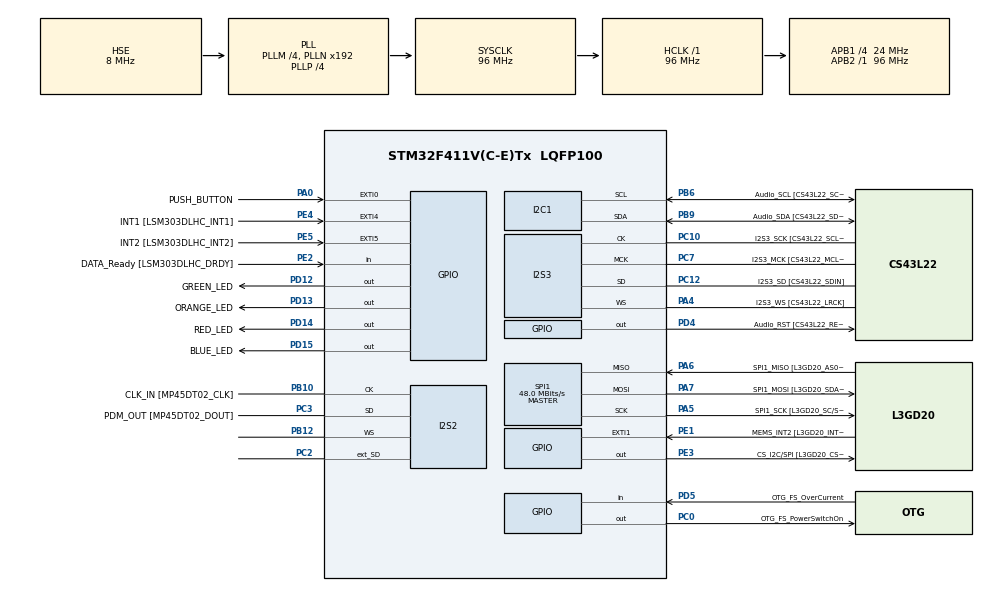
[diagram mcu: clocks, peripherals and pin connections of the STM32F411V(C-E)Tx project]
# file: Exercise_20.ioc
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FREERTOS.Tasks01=Command,0,128,Start_Command,Default,NULL,Dynamic,NULL,NULL;Flashing,0,128,Start_Flashing,Default,NULL,Dynamic,NULL,NULL
I2S2.AudioFreq=I2S_AUDIOFREQ_96K
I2S2.ErrorAudioFreq=0.15 %
I2S2.FullDuplexMode=I2S_FULLDUPLEXMODE_ENABLE
I2S2.Instance=SPI$Index
I2S2.RealAudioFreq=96.153 KHz
I2S2.VirtualMode=I2S_MODE_MASTER
I2S3.AudioFreq=I2S_AUDIOFREQ_96K
I2S3.ErrorAudioFreq=-6.99 %
I2S3.FullDuplexMode=I2S_FULLDUPLEXMODE_DISABLE
I2S3.Instance=SPI$Index
I2S3.RealAudioFreq=89.285 KHz
I2S3.VirtualMode=I2S_MODE_MASTER
Mcu.Family=STM32F4
Mcu.Name=STM32F411V(C-E)Tx
Mcu.Package=LQFP100
NVIC.PriorityGroup=NVIC_PRIORITYGROUP_4
NVIC.TIM1_UP_TIM10_IRQn=true\:0\:0\:false\:false\:true\:false\:false\:true
NVIC.TimeBase=TIM1_UP_TIM10_IRQn
NVIC.TimeBaseIP=TIM1
PA0-WKUP.GPIO_Label=PUSH_BUTTON
PA0-WKUP.GPIO_ModeDefaultEXTI=GPIO_MODE_EVT_RISING
PA0-WKUP.Signal=GPXTI0
PA10.GPIO_Label=OTG_FS_ID
PA10.Signal=USB_OTG_FS_ID
PA11.GPIO_Label=OTG_FS_DM
PA11.Signal=USB_OTG_FS_DM
PA12.GPIO_Label=OTG_FS_DP
PA12.Signal=USB_OTG_FS_DP
PA13.GPIO_Label=SWDIO
PA13.Mode=Serial_Wire
PA13.Signal=SYS_JTMS-SWDIO
PA14.GPIO_Label=SWCLK
PA14.Mode=Serial_Wire
PA14.Signal=SYS_JTCK-SWCLK
PA4.GPIO_Label=I2S3_WS [CS43L22_LRCK]
PA4.GPIO_Mode=GPIO_MODE_AF_PP
PA4.GPIO_PuPd=GPIO_NOPULL
PA4.GPIO_Speed=GPIO_SPEED_FREQ_LOW
PA4.Mode=Half_Duplex_Master
PA4.Signal=I2S3_WS
PA5.GPIO_Label=SPI1_SCK [L3GD20_SC/SPC]
PA5.Mode=Full_Duplex_Master
PA5.Signal=SPI1_SCK
PA6.GPIO_Label=SPI1_MISO [L3GD20_AS0/SDO]
PA6.Mode=Full_Duplex_Master
PA6.Signal=SPI1_MISO
PA7.GPIO_Label=SPI1_MOSI [L3GD20_SDA/SDI/SDO]
PA7.Mode=Full_Duplex_Master
PA7.Signal=SPI1_MOSI
PA9.GPIO_Label=VBUS_FS
PA9.Signal=USB_OTG_FS_VBUS
PB10.GPIO_Label=CLK_IN [MP45DT02_CLK]
PB10.Mode=Full_Duplex_Master
PB10.Signal=I2S2_CK
PB12.Mode=Full_Duplex_Master
PB12.Signal=I2S2_WS
PB3.GPIO_Label=SWO
PB3.Signal=SYS_JTDO-SWO
PB6.GPIO_Label=Audio_SCL [CS43L22_SCL]
PB6.GPIO_Mode=GPIO_MODE_AF_OD
PB6.GPIO_PuPd=GPIO_NOPULL
PB6.GPIO_Speed=GPIO_SPEED_FREQ_LOW
PB6.Mode=I2C
PB6.Signal=I2C1_SCL
PB9.GPIO_Label=Audio_SDA [CS43L22_SDA]
PB9.GPIO_Mode=GPIO_MODE_AF_OD
PB9.GPIO_PuPd=GPIO_NOPULL
PB9.GPIO_Speed=GPIO_SPEED_FREQ_LOW
PB9.Mode=I2C
PB9.Signal=I2C1_SDA
PC0.GPIO_Label=OTG_FS_PowerSwitchOn
PC0.PinState=GPIO_PIN_SET
PC0.Signal=GPIO_Output
PC10.GPIO_Label=I2S3_SCK [CS43L22_SCLK]
PC10.GPIO_Mode=GPIO_MODE_AF_PP
PC10.GPIO_PuPd=GPIO_NOPULL
PC10.GPIO_Speed=GPIO_SPEED_FREQ_LOW
PC10.Mode=Half_Duplex_Master
PC10.Signal=I2S3_CK
PC12.GPIO_Label=I2S3_SD [CS43L22_SDIN]
PC12.GPIO_Mode=GPIO_MODE_AF_PP
PC12.GPIO_PuPd=GPIO_NOPULL
PC12.GPIO_Speed=GPIO_SPEED_FREQ_LOW
PC12.Mode=Half_Duplex_Master
PC12.Signal=I2S3_SD
PC14-OSC32_IN.GPIO_Label=PC14-OSC32_IN
PC14-OSC32_IN.Mode=LSE-External-Oscillator
PC14-OSC32_IN.Signal=RCC_OSC32_IN
PC15-OSC32_OUT.GPIO_Label=PC15-OSC32_OUT
PC15-OSC32_OUT.Mode=LSE-External-Oscillator
PC15-OSC32_OUT.Signal=RCC_OSC32_OUT
PC2.Mode=Full_Duplex_Master
PC2.Signal=I2S2_ext_SD
PC3.GPIO_Label=PDM_OUT [MP45DT02_DOUT]
PC3.Mode=Full_Duplex_Master
PC3.Signal=I2S2_SD
PC7.GPIO_Label=I2S3_MCK [CS43L22_MCLK]
PC7.GPIO_Mode=GPIO_MODE_AF_PP
PC7.GPIO_PuPd=GPIO_NOPULL
PC7.GPIO_Speed=GPIO_SPEED_FREQ_LOW
PC7.Mode=Master_Clock_Activated
PC7.Signal=I2S3_MCK
PD12.GPIO_Label=GREEN_LED
PD12.GPIO_PuPd=GPIO_NOPULL
PD12.GPIO_Speed=GPIO_SPEED_FREQ_LOW
PD12.Signal=GPIO_Output
PD13.GPIO_Label=ORANGE_LED
PD13.GPIO_PuPd=GPIO_NOPULL
PD13.GPIO_Speed=GPIO_SPEED_FREQ_LOW
PD13.Signal=GPIO_Output
PD14.GPIO_Label=RED_LED
PD14.GPIO_PuPd=GPIO_NOPULL
PD14.GPIO_Speed=GPIO_SPEED_FREQ_LOW
PD14.Signal=GPIO_Output
PD15.GPIO_Label=BLUE_LED
PD15.GPIO_PuPd=GPIO_NOPULL
PD15.GPIO_Speed=GPIO_SPEED_FREQ_LOW
PD15.Signal=GPIO_Output
PD4.GPIO_Label=Audio_RST [CS43L22_RESET]
PD4.Signal=GPIO_Output
PD5.GPIO_Label=OTG_FS_OverCurrent
PD5.Signal=GPIO_Input
PE1.GPIO_Label=MEMS_INT2 [L3GD20_INT2]
PE1.GPIO_ModeDefaultEXTI=GPIO_MODE_EVT_RISING
PE1.Signal=GPXTI1
PE2.GPIO_Label=DATA_Ready [LSM303DLHC_DRDY]
PE2.Signal=GPIO_Input
PE3.GPIO_Label=CS_I2C/SPI [L3GD20_CS_I2C/SPI]
PE3.Signal=GPIO_Output
PE4.GPIO_Label=INT1 [LSM303DLHC_INT1]
PE4.GPIO_ModeDefaultEXTI=GPIO_MODE_EVT_RISING
PE4.Signal=GPXTI4
PE5.GPIO_Label=INT2 [LSM303DLHC_INT2]
PE5.GPIO_ModeDefaultEXTI=GPIO_MODE_EVT_RISING
PE5.Signal=GPXTI5
PH0\ -\ OSC_IN.GPIO_Label=PH0-OSC_IN
PH0\ -\ OSC_IN.Mode=HSE-External-Oscillator
PH0\ -\ OSC_IN.Signal=RCC_OSC_IN
PH1\ -\ OSC_OUT.GPIO_Label=PH1-OSC_OUT
PH1\ -\ OSC_OUT.Mode=HSE-External-Oscillator
PH1\ -\ OSC_OUT.Signal=RCC_OSC_OUT
ProjectManager.HeapSize=0x200
ProjectManager.StackSize=0x400
ProjectManager.TargetToolchain=STM32CubeIDE
RCC.48MHZClocksFreq_Value=48000000
RCC.AHBFreq_Value=96000000
RCC.APB1CLKDivider=RCC_HCLK_DIV4
RCC.APB1Freq_Value=24000000
RCC.APB1TimFreq_Value=48000000
RCC.APB2Freq_Value=96000000
RCC.APB2TimFreq_Value=96000000
RCC.CortexFreq_Value=96000000
RCC.HCLKFreq_Value=96000000
RCC.HSE_VALUE=8000000
RCC.HSI_VALUE=16000000
RCC.PLLI2SM=5
RCC.PLLI2SN=200
RCC.PLLM=4
RCC.PLLP=RCC_PLLP_DIV4
RCC.PLLQ=8
RCC.PLLSourceVirtual=RCC_PLLSOURCE_HSE
RCC.SYSCLKFreq_VALUE=96000000
RCC.SYSCLKSource=RCC_SYSCLKSOURCE_PLLCLK
RCC.VCOOutputFreq_Value=384000000
SPI1.BaudRatePrescaler=SPI_BAUDRATEPRESCALER_2
SPI1.CalculateBaudRate=48.0 MBits/s
SPI1.Direction=SPI_DIRECTION_2LINES
SPI1.Mode=SPI_MODE_MASTER
SPI1.VirtualType=VM_MASTER
VP_FREERTOS_VS_CMSIS_V1.Mode=CMSIS_V1
VP_SYS_VS_tim1.Mode=TIM1
board=STM32F411E-DISCO

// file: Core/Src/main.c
/* USER CODE BEGIN Header */
/**
  ******************************************************************************
  * @file           : main.c
  * @brief          : Main program body
  ******************************************************************************
  * @attention
  *
  * <h2><center>&copy; Copyright (c) 2024 STMicroelectronics.
  * All rights reserved.</center></h2>
  *
  * This software component is licensed by ST under Ultimate Liberty license
  * SLA0044, the "License"; You may not use this file except in compliance with
  * the License. You may obtain a copy of the License at:
  *                             www.st.com/SLA0044
  *
  ******************************************************************************
  */
/* USER CODE END Header */

#include "main.h"
#include "cmsis_os.h"

/* USER CODE BEGIN Includes */
#include "MailBox.h"
/* USER CODE END Includes */

I2C_HandleTypeDef hi2c1;

I2S_HandleTypeDef hi2s2;
I2S_HandleTypeDef hi2s3;

SPI_HandleTypeDef hspi1;

osThreadId CommandHandle;
osThreadId FlashingHandle;

void SystemClock_Config(void);
static void MX_GPIO_Init(void);
static void MX_I2C1_Init(void);
static void MX_I2S2_Init(void);
static void MX_I2S3_Init(void);
static void MX_SPI1_Init(void);
void Start_Command(void const * argument);
void Start_Flashing(void const * argument);

int main(void)
{

  /* MCU Configuration--------------------------------------------------------*/

  /* Reset of all peripherals, Initializes the Flash interface and the Systick. */
  HAL_Init();

  /* USER CODE BEGIN Init */
  initMailBox();
  /* USER CODE END Init */

  /* Configure the system clock */
  SystemClock_Config();

  /* Initialize all configured peripherals */
  MX_GPIO_Init();
  MX_I2C1_Init();
  MX_I2S2_Init();
  MX_I2S3_Init();
  MX_SPI1_Init();

  /* Create the thread(s) */
  /* definition and creation of Command */
  osThreadDef(Command, Start_Command, osPriorityNormal, 0, 128);
  CommandHandle = osThreadCreate(osThread(Command), NULL);

  /* definition and creation of Flashing */
  osThreadDef(Flashing, Start_Flashing, osPriorityNormal, 0, 128);
  FlashingHandle = osThreadCreate(osThread(Flashing), NULL);

  /* Start scheduler */
  osKernelStart();

  /* We should never get here as control is now taken by the scheduler */

  /* Infinite loop */
  while (1)
  {

  }
}

void SystemClock_Config(void)
{
  RCC_OscInitTypeDef RCC_OscInitStruct = {0};
  RCC_ClkInitTypeDef RCC_ClkInitStruct = {0};
  RCC_PeriphCLKInitTypeDef PeriphClkInitStruct = {0};

  /** Configure the main internal regulator output voltage
  */
  __HAL_RCC_PWR_CLK_ENABLE();
  __HAL_PWR_VOLTAGESCALING_CONFIG(PWR_REGULATOR_VOLTAGE_SCALE1);
  /** Initializes the CPU, AHB and APB busses clocks
  */
  RCC_OscInitStruct.OscillatorType = RCC_OSCILLATORTYPE_HSE;
  RCC_OscInitStruct.HSEState = RCC_HSE_ON;
  RCC_OscInitStruct.PLL.PLLState = RCC_PLL_ON;
  RCC_OscInitStruct.PLL.PLLSource = RCC_PLLSOURCE_HSE;
  RCC_OscInitStruct.PLL.PLLM = 4;
  RCC_OscInitStruct.PLL.PLLN = 192;
  RCC_OscInitStruct.PLL.PLLP = RCC_PLLP_DIV4;
  RCC_OscInitStruct.PLL.PLLQ = 8;
  if (HAL_RCC_OscConfig(&RCC_OscInitStruct) != HAL_OK)
  {
    Error_Handler();
  }
  /** Initializes the CPU, AHB and APB busses clocks
  */
  RCC_ClkInitStruct.ClockType = RCC_CLOCKTYPE_HCLK|RCC_CLOCKTYPE_SYSCLK
                              |RCC_CLOCKTYPE_PCLK1|RCC_CLOCKTYPE_PCLK2;
  RCC_ClkInitStruct.SYSCLKSource = RCC_SYSCLKSOURCE_PLLCLK;
  RCC_ClkInitStruct.AHBCLKDivider = RCC_SYSCLK_DIV1;
  RCC_ClkInitStruct.APB1CLKDivider = RCC_HCLK_DIV4;
  RCC_ClkInitStruct.APB2CLKDivider = RCC_HCLK_DIV1;

  if (HAL_RCC_ClockConfig(&RCC_ClkInitStruct, FLASH_LATENCY_3) != HAL_OK)
  {
    Error_Handler();
  }
  PeriphClkInitStruct.PeriphClockSelection = RCC_PERIPHCLK_I2S;
  PeriphClkInitStruct.PLLI2S.PLLI2SN = 200;
  PeriphClkInitStruct.PLLI2S.PLLI2SM = 5;
  PeriphClkInitStruct.PLLI2S.PLLI2SR = 2;
  if (HAL_RCCEx_PeriphCLKConfig(&PeriphClkInitStruct) != HAL_OK)
  {
    Error_Handler();
  }
}

static void MX_I2C1_Init(void)
{

  hi2c1.Instance = I2C1;
  hi2c1.Init.ClockSpeed = 100000;
  hi2c1.Init.DutyCycle = I2C_DUTYCYCLE_2;
  hi2c1.Init.OwnAddress1 = 0;
  hi2c1.Init.AddressingMode = I2C_ADDRESSINGMODE_7BIT;
  hi2c1.Init.DualAddressMode = I2C_DUALADDRESS_DISABLE;
  hi2c1.Init.OwnAddress2 = 0;
  hi2c1.Init.GeneralCallMode = I2C_GENERALCALL_DISABLE;
  hi2c1.Init.NoStretchMode = I2C_NOSTRETCH_DISABLE;
  if (HAL_I2C_Init(&hi2c1) != HAL_OK)
  {
    Error_Handler();
  }

}

static void MX_I2S2_Init(void)
{

  hi2s2.Instance = SPI2;
  hi2s2.Init.Mode = I2S_MODE_MASTER_TX;
  hi2s2.Init.Standard = I2S_STANDARD_PHILIPS;
  hi2s2.Init.DataFormat = I2S_DATAFORMAT_16B;
  hi2s2.Init.MCLKOutput = I2S_MCLKOUTPUT_DISABLE;
  hi2s2.Init.AudioFreq = I2S_AUDIOFREQ_96K;
  hi2s2.Init.CPOL = I2S_CPOL_LOW;
  hi2s2.Init.ClockSource = I2S_CLOCK_PLL;
  hi2s2.Init.FullDuplexMode = I2S_FULLDUPLEXMODE_ENABLE;
  if (HAL_I2S_Init(&hi2s2) != HAL_OK)
  {
    Error_Handler();
  }

}

static void MX_I2S3_Init(void)
{

  hi2s3.Instance = SPI3;
  hi2s3.Init.Mode = I2S_MODE_MASTER_TX;
  hi2s3.Init.Standard = I2S_STANDARD_PHILIPS;
  hi2s3.Init.DataFormat = I2S_DATAFORMAT_16B;
  hi2s3.Init.MCLKOutput = I2S_MCLKOUTPUT_ENABLE;
  hi2s3.Init.AudioFreq = I2S_AUDIOFREQ_96K;
  hi2s3.Init.CPOL = I2S_CPOL_LOW;
  hi2s3.Init.ClockSource = I2S_CLOCK_PLL;
  hi2s3.Init.FullDuplexMode = I2S_FULLDUPLEXMODE_DISABLE;
  if (HAL_I2S_Init(&hi2s3) != HAL_OK)
  {
    Error_Handler();
  }

}

static void MX_SPI1_Init(void)
{

  /* SPI1 parameter configuration*/
  hspi1.Instance = SPI1;
  hspi1.Init.Mode = SPI_MODE_MASTER;
  hspi1.Init.Direction = SPI_DIRECTION_2LINES;
  hspi1.Init.DataSize = SPI_DATASIZE_8BIT;
  hspi1.Init.CLKPolarity = SPI_POLARITY_LOW;
  hspi1.Init.CLKPhase = SPI_PHASE_1EDGE;
  hspi1.Init.NSS = SPI_NSS_SOFT;
  hspi1.Init.BaudRatePrescaler = SPI_BAUDRATEPRESCALER_2;
  hspi1.Init.FirstBit = SPI_FIRSTBIT_MSB;
  hspi1.Init.TIMode = SPI_TIMODE_DISABLE;
  hspi1.Init.CRCCalculation = SPI_CRCCALCULATION_DISABLE;
  hspi1.Init.CRCPolynomial = 10;
  if (HAL_SPI_Init(&hspi1) != HAL_OK)
  {
    Error_Handler();
  }

}

static void MX_GPIO_Init(void)
{
  GPIO_InitTypeDef GPIO_InitStruct = {0};

  /* GPIO Ports Clock Enable */
  __HAL_RCC_GPIOE_CLK_ENABLE();
  __HAL_RCC_GPIOC_CLK_ENABLE();
  __HAL_RCC_GPIOH_CLK_ENABLE();
  __HAL_RCC_GPIOA_CLK_ENABLE();
  __HAL_RCC_GPIOB_CLK_ENABLE();
  __HAL_RCC_GPIOD_CLK_ENABLE();

  /*Configure GPIO pin Output Level */
  HAL_GPIO_WritePin(CS_I2C_SPI_GPIO_Port, CS_I2C_SPI_Pin, GPIO_PIN_RESET);

  /*Configure GPIO pin Output Level */
  HAL_GPIO_WritePin(OTG_FS_PowerSwitchOn_GPIO_Port, OTG_FS_PowerSwitchOn_Pin, GPIO_PIN_SET);

  /*Configure GPIO pin Output Level */
  HAL_GPIO_WritePin(GPIOD, GREEN_LED_Pin|ORANGE_LED_Pin|RED_LED_Pin|BLUE_LED_Pin
                          |Audio_RST_Pin, GPIO_PIN_RESET);

  /*Configure GPIO pin : DATA_Ready_Pin */
  GPIO_InitStruct.Pin = DATA_Ready_Pin;
  GPIO_InitStruct.Mode = GPIO_MODE_INPUT;
  GPIO_InitStruct.Pull = GPIO_NOPULL;
  HAL_GPIO_Init(DATA_Ready_GPIO_Port, &GPIO_InitStruct);

  /*Configure GPIO pin : CS_I2C_SPI_Pin */
  GPIO_InitStruct.Pin = CS_I2C_SPI_Pin;
  GPIO_InitStruct.Mode = GPIO_MODE_OUTPUT_PP;
  GPIO_InitStruct.Pull = GPIO_NOPULL;
  GPIO_InitStruct.Speed = GPIO_SPEED_FREQ_LOW;
  HAL_GPIO_Init(CS_I2C_SPI_GPIO_Port, &GPIO_InitStruct);

  /*Configure GPIO pins : INT1_Pin INT2_Pin MEMS_INT2_Pin */
  GPIO_InitStruct.Pin = INT1_Pin|INT2_Pin|MEMS_INT2_Pin;
  GPIO_InitStruct.Mode = GPIO_MODE_EVT_RISING;
  GPIO_InitStruct.Pull = GPIO_NOPULL;
  HAL_GPIO_Init(GPIOE, &GPIO_InitStruct);

  /*Configure GPIO pin : OTG_FS_PowerSwitchOn_Pin */
  GPIO_InitStruct.Pin = OTG_FS_PowerSwitchOn_Pin;
  GPIO_InitStruct.Mode = GPIO_MODE_OUTPUT_PP;
  GPIO_InitStruct.Pull = GPIO_NOPULL;
  GPIO_InitStruct.Speed = GPIO_SPEED_FREQ_LOW;
  HAL_GPIO_Init(OTG_FS_PowerSwitchOn_GPIO_Port, &GPIO_InitStruct);

  /*Configure GPIO pin : PUSH_BUTTON_Pin */
  GPIO_InitStruct.Pin = PUSH_BUTTON_Pin;
  GPIO_InitStruct.Mode = GPIO_MODE_EVT_RISING;
  GPIO_InitStruct.Pull = GPIO_NOPULL;
  HAL_GPIO_Init(PUSH_BUTTON_GPIO_Port, &GPIO_InitStruct);

  /*Configure GPIO pins : GREEN_LED_Pin ORANGE_LED_Pin RED_LED_Pin BLUE_LED_Pin
                           Audio_RST_Pin */
  GPIO_InitStruct.Pin = GREEN_LED_Pin|ORANGE_LED_Pin|RED_LED_Pin|BLUE_LED_Pin
                          |Audio_RST_Pin;
  GPIO_InitStruct.Mode = GPIO_MODE_OUTPUT_PP;
  GPIO_InitStruct.Pull = GPIO_NOPULL;
  GPIO_InitStruct.Speed = GPIO_SPEED_FREQ_LOW;
  HAL_GPIO_Init(GPIOD, &GPIO_InitStruct);

  /*Configure GPIO pin : VBUS_FS_Pin */
  GPIO_InitStruct.Pin = VBUS_FS_Pin;
  GPIO_InitStruct.Mode = GPIO_MODE_INPUT;
  GPIO_InitStruct.Pull = GPIO_NOPULL;
  HAL_GPIO_Init(VBUS_FS_GPIO_Port, &GPIO_InitStruct);

  /*Configure GPIO pins : OTG_FS_ID_Pin OTG_FS_DM_Pin OTG_FS_DP_Pin */
  GPIO_InitStruct.Pin = OTG_FS_ID_Pin|OTG_FS_DM_Pin|OTG_FS_DP_Pin;
  GPIO_InitStruct.Mode = GPIO_MODE_AF_PP;
  GPIO_InitStruct.Pull = GPIO_NOPULL;
  GPIO_InitStruct.Speed = GPIO_SPEED_FREQ_VERY_HIGH;
  GPIO_InitStruct.Alternate = GPIO_AF10_OTG_FS;
  HAL_GPIO_Init(GPIOA, &GPIO_InitStruct);

  /*Configure GPIO pin : OTG_FS_OverCurrent_Pin */
  GPIO_InitStruct.Pin = OTG_FS_OverCurrent_Pin;
  GPIO_InitStruct.Mode = GPIO_MODE_INPUT;
  GPIO_InitStruct.Pull = GPIO_NOPULL;
  HAL_GPIO_Init(OTG_FS_OverCurrent_GPIO_Port, &GPIO_InitStruct);

}

void Start_Command(void const * argument)
{
  /* USER CODE BEGIN 5 */
  uint32_t rate[] =  {50,500};
  uint32_t period[] =  {10,5};
  mailBoxMessage_t messages[] ={SYNC_1,SYNC_2};
  /* Infinite loop */
  for(;;)
  {
    for(int i = 0; i < 2;i++)
	{
      for(int j = 0; j < 1000*period[i]/rate[i];j++)
      {
        HAL_GPIO_TogglePin(RED_LED_GPIO_Port, RED_LED_Pin);
    	osDelay(rate[i]);
      }
      Post(messages[i]);
	}
  }
  /* USER CODE END 5 */
}

void Start_Flashing(void const * argument)
{
  /* USER CODE BEGIN Start_Flashing */
  uint32_t rate[] =  {500,50};
  uint32_t period[] =  {5,10};

  HAL_GPIO_WritePin(ORANGE_LED_GPIO_Port, ORANGE_LED_Pin,GPIO_PIN_RESET);
  HAL_GPIO_WritePin(BLUE_LED_GPIO_Port, BLUE_LED_Pin,GPIO_PIN_SET);

  /* Infinite loop */
  for(;;)
  {
    for(int i = 0; i < 2;i++)
	{
	  for(int j = 0; j < 1000*period[i]/rate[i];j++)
	  {
	    HAL_GPIO_TogglePin(GREEN_LED_GPIO_Port, GREEN_LED_Pin);
	    osDelay(rate[i]);
	  }

      if(SYNC_1 == Pend())
      {
    	HAL_GPIO_WritePin(ORANGE_LED_GPIO_Port, ORANGE_LED_Pin,GPIO_PIN_SET);
    	HAL_GPIO_WritePin(BLUE_LED_GPIO_Port, BLUE_LED_Pin,GPIO_PIN_RESET);
      }
      else
      {
        HAL_GPIO_WritePin(ORANGE_LED_GPIO_Port, ORANGE_LED_Pin,GPIO_PIN_RESET);
      	HAL_GPIO_WritePin(BLUE_LED_GPIO_Port, BLUE_LED_Pin,GPIO_PIN_SET);
      }
	}
  }
  /* USER CODE END Start_Flashing */
}

void HAL_TIM_PeriodElapsedCallback(TIM_HandleTypeDef *htim)
{
  if (htim->Instance == TIM1) {
    HAL_IncTick();
  }
}

void Error_Handler(void)
{
}

/************************ (C) COPYRIGHT STMicroelectronics *****END OF FILE****/
